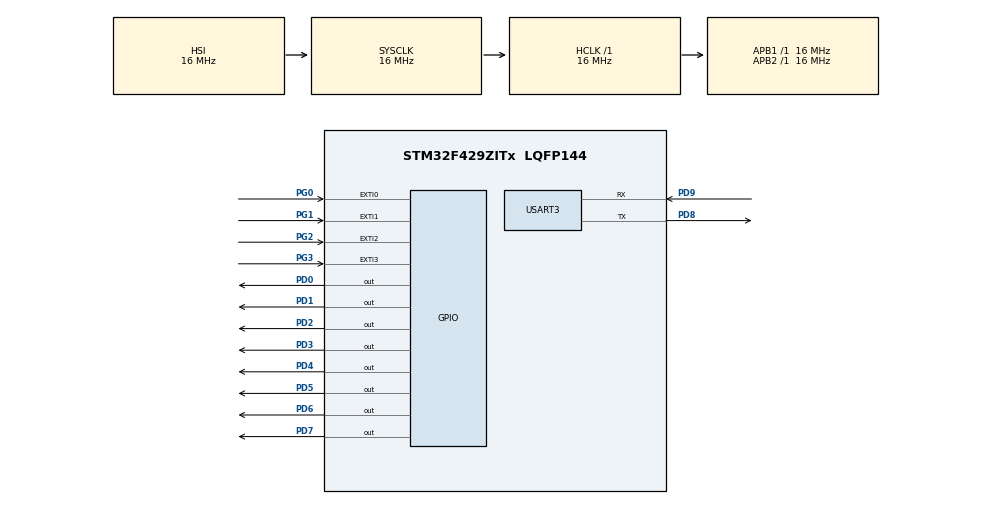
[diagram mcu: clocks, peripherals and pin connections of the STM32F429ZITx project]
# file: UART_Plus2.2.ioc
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Mcu.Family=STM32F4
Mcu.Name=STM32F429ZITx
Mcu.Package=LQFP144
NVIC.EXTI0_IRQn=true\:0\:0\:false\:false\:true\:true\:true\:true
NVIC.EXTI1_IRQn=true\:0\:0\:false\:false\:true\:true\:true\:true
NVIC.EXTI2_IRQn=true\:0\:0\:false\:false\:true\:true\:true\:true
NVIC.EXTI3_IRQn=true\:0\:0\:false\:false\:true\:true\:true\:true
NVIC.PriorityGroup=NVIC_PRIORITYGROUP_4
NVIC.USART3_IRQn=true\:0\:0\:false\:false\:true\:true\:true\:true
PD0.GPIO_ModeDefaultOutputPP=GPIO_MODE_OUTPUT_PP
PD0.GPIO_PuPd=GPIO_PULLUP
PD0.GPIO_Speed=GPIO_SPEED_FREQ_HIGH
PD0.PinState=GPIO_PIN_RESET
PD0.Signal=GPIO_Output
PD1.GPIO_ModeDefaultOutputPP=GPIO_MODE_OUTPUT_PP
PD1.GPIO_PuPd=GPIO_PULLUP
PD1.GPIO_Speed=GPIO_SPEED_FREQ_HIGH
PD1.PinState=GPIO_PIN_RESET
PD1.Signal=GPIO_Output
PD2.GPIO_ModeDefaultOutputPP=GPIO_MODE_OUTPUT_PP
PD2.GPIO_PuPd=GPIO_PULLUP
PD2.GPIO_Speed=GPIO_SPEED_FREQ_HIGH
PD2.PinState=GPIO_PIN_RESET
PD2.Signal=GPIO_Output
PD3.GPIO_ModeDefaultOutputPP=GPIO_MODE_OUTPUT_PP
PD3.GPIO_PuPd=GPIO_PULLUP
PD3.GPIO_Speed=GPIO_SPEED_FREQ_HIGH
PD3.PinState=GPIO_PIN_RESET
PD3.Signal=GPIO_Output
PD4.GPIO_ModeDefaultOutputPP=GPIO_MODE_OUTPUT_PP
PD4.GPIO_PuPd=GPIO_PULLUP
PD4.GPIO_Speed=GPIO_SPEED_FREQ_HIGH
PD4.PinState=GPIO_PIN_RESET
PD4.Signal=GPIO_Output
PD5.GPIO_ModeDefaultOutputPP=GPIO_MODE_OUTPUT_PP
PD5.GPIO_PuPd=GPIO_PULLUP
PD5.GPIO_Speed=GPIO_SPEED_FREQ_HIGH
PD5.PinState=GPIO_PIN_RESET
PD5.Signal=GPIO_Output
PD6.GPIO_ModeDefaultOutputPP=GPIO_MODE_OUTPUT_PP
PD6.GPIO_PuPd=GPIO_PULLUP
PD6.GPIO_Speed=GPIO_SPEED_FREQ_HIGH
PD6.PinState=GPIO_PIN_RESET
PD6.Signal=GPIO_Output
PD7.GPIO_ModeDefaultOutputPP=GPIO_MODE_OUTPUT_PP
PD7.GPIO_PuPd=GPIO_PULLUP
PD7.GPIO_Speed=GPIO_SPEED_FREQ_HIGH
PD7.PinState=GPIO_PIN_RESET
PD7.Signal=GPIO_Output
PD8.Mode=Asynchronous
PD8.Signal=USART3_TX
PD9.Mode=Asynchronous
PD9.Signal=USART3_RX
PG0.GPIO_ModeDefaultEXTI=GPIO_MODE_IT_FALLING
PG0.GPIO_PuPd=GPIO_NOPULL
PG0.Signal=GPXTI0
PG1.GPIO_ModeDefaultEXTI=GPIO_MODE_IT_FALLING
PG1.GPIO_PuPd=GPIO_NOPULL
PG1.Signal=GPXTI1
PG2.GPIO_ModeDefaultEXTI=GPIO_MODE_IT_FALLING
PG2.GPIO_PuPd=GPIO_NOPULL
PG2.Signal=GPXTI2
PG3.GPIO_ModeDefaultEXTI=GPIO_MODE_IT_FALLING
PG3.GPIO_PuPd=GPIO_NOPULL
PG3.Signal=GPXTI3
ProjectManager.HeapSize=0x200
ProjectManager.StackSize=0x400
ProjectManager.TargetToolchain=STM32CubeIDE
RCC.AHBFreq_Value=16000000
RCC.APB1Freq_Value=16000000
RCC.APB2Freq_Value=16000000
RCC.CortexFreq_Value=16000000
RCC.HSE_VALUE=25000000
RCC.HSI_VALUE=16000000
RCC.LSE_VALUE=32768
RCC.SYSCLKFreq_VALUE=16000000
RCC.VCOOutputFreq_Value=192000000
USART3.VirtualMode=VM_ASYNC
board=custom

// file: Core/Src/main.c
/* USER CODE BEGIN Header */
/**
  ******************************************************************************
  * @file           : main.c
  * @brief          : Main program body
  ******************************************************************************
  * @attention
  *
  * Copyright (c) 2022 STMicroelectronics.
  * All rights reserved.
  *
  * This software is licensed under terms that can be found in the LICENSE file
  * in the root directory of this software component.
  * If no LICENSE file comes with this software, it is provided AS-IS.
  *
  ******************************************************************************
  */
/* USER CODE END Header */
#include "main.h"

/* USER CODE BEGIN PD */
#define TxBufferSize   (countof(TxBuffer)-1)
#define TxBufferSize_2   (countof(TxBuffer_2)-1)
#define TxBufferSize_3   (countof(TxBuffer_3)-1)
#define TxBufferSize_4   (countof(TxBuffer_4)-1)
#define TxBufferSize_5   (countof(TxBuffer_5)-1)
#define RxBufferSize   0XFF
#define countof(a)      (sizeof(a) / sizeof(*(a)))
/* USER CODE END PD */

UART_HandleTypeDef huart3;

/* USER CODE BEGIN PV */
uint8_t TxBuffer[] = "\n\rUART Plus Example 2.2 (Transmission Success !!)\n\r\n\r";
uint8_t TxBuffer_2[] = "\n\r LED 1 is ON ! \n\r";
uint8_t TxBuffer_3[] = "\n\r   LED 2 is ON ! \n\r";
uint8_t TxBuffer_4[] = "\n\r     LED 3 is ON ! \n\r";
uint8_t TxBuffer_5[] = "\n\r       LED 4 is ON ! \n\r";
uint8_t RxBuffer[RxBufferSize];
/* USER CODE END PV */

void SystemClock_Config(void);
static void MX_GPIO_Init(void);
static void MX_USART3_UART_Init(void);
/* USER CODE BEGIN PFP */
void LED_OnOff(int, int);
/* USER CODE END PFP */

int main(void)
{
   uint8_t data;

  /* MCU Configuration--------------------------------------------------------*/

  /* Reset of all peripherals, Initializes the Flash interface and the Systick. */
  HAL_Init();

  /* Configure the system clock */
  SystemClock_Config();

  /* Initialize all configured peripherals */
  MX_GPIO_Init();
  MX_USART3_UART_Init();
  /* USER CODE BEGIN 2 */
  LED_OnOff(LED_ALL, 500);
  HAL_UART_Transmit(&huart3, (uint8_t*)TxBuffer, TxBufferSize, 0xFFFF);
  /* USER CODE END 2 */

  /* Infinite loop */
  /* USER CODE BEGIN WHILE */
  while (1)
  {
     if(HAL_UART_Receive(&huart3, &data, 1, 5000)== HAL_OK)
     {
        if(data == '1'){
           HAL_UART_Transmit(&huart3,(uint8_t*)TxBuffer_2 , TxBufferSize_2, 0xFFFF);
           LED_OnOff(0x01,1000);
        }
        if(data == '2'){
           HAL_UART_Transmit(&huart3,(uint8_t*)TxBuffer_3 , TxBufferSize_3, 0xFFFF);
           LED_OnOff(0x02,1000);
        }
        if(data == '3'){
           HAL_UART_Transmit(&huart3,(uint8_t*)TxBuffer_4 , TxBufferSize_4, 0xFFFF);
           LED_OnOff(0x04,1000);
        }
        if(data == '4'){
           HAL_UART_Transmit(&huart3,(uint8_t*)TxBuffer_5 , TxBufferSize_5, 0xFFFF);
           LED_OnOff(0x08,1000);
        }

     }
    /* USER CODE END WHILE */

  }
}

void SystemClock_Config(void)
{
  RCC_OscInitTypeDef RCC_OscInitStruct = {0};
  RCC_ClkInitTypeDef RCC_ClkInitStruct = {0};

  /** Configure the main internal regulator output voltage
  */
  __HAL_RCC_PWR_CLK_ENABLE();
  __HAL_PWR_VOLTAGESCALING_CONFIG(PWR_REGULATOR_VOLTAGE_SCALE3);

  /** Initializes the RCC Oscillators according to the specified parameters
  * in the RCC_OscInitTypeDef structure.
  */
  RCC_OscInitStruct.OscillatorType = RCC_OSCILLATORTYPE_HSI;
  RCC_OscInitStruct.HSIState = RCC_HSI_ON;
  RCC_OscInitStruct.HSICalibrationValue = RCC_HSICALIBRATION_DEFAULT;
  RCC_OscInitStruct.PLL.PLLState = RCC_PLL_NONE;
  if (HAL_RCC_OscConfig(&RCC_OscInitStruct) != HAL_OK)
  {
    Error_Handler();
  }

  /** Initializes the CPU, AHB and APB buses clocks
  */
  RCC_ClkInitStruct.ClockType = RCC_CLOCKTYPE_HCLK|RCC_CLOCKTYPE_SYSCLK
                              |RCC_CLOCKTYPE_PCLK1|RCC_CLOCKTYPE_PCLK2;
  RCC_ClkInitStruct.SYSCLKSource = RCC_SYSCLKSOURCE_HSI;
  RCC_ClkInitStruct.AHBCLKDivider = RCC_SYSCLK_DIV1;
  RCC_ClkInitStruct.APB1CLKDivider = RCC_HCLK_DIV1;
  RCC_ClkInitStruct.APB2CLKDivider = RCC_HCLK_DIV1;

  if (HAL_RCC_ClockConfig(&RCC_ClkInitStruct, FLASH_LATENCY_0) != HAL_OK)
  {
    Error_Handler();
  }
}

static void MX_USART3_UART_Init(void)
{

  huart3.Instance = USART3;
  huart3.Init.BaudRate = 115200;
  huart3.Init.WordLength = UART_WORDLENGTH_8B;
  huart3.Init.StopBits = UART_STOPBITS_1;
  huart3.Init.Parity = UART_PARITY_NONE;
  huart3.Init.Mode = UART_MODE_TX_RX;
  huart3.Init.HwFlowCtl = UART_HWCONTROL_NONE;
  huart3.Init.OverSampling = UART_OVERSAMPLING_16;
  if (HAL_UART_Init(&huart3) != HAL_OK)
  {
    Error_Handler();
  }

}

static void MX_GPIO_Init(void)
{
  GPIO_InitTypeDef GPIO_InitStruct = {0};

  /* GPIO Ports Clock Enable */
  __HAL_RCC_GPIOG_CLK_ENABLE();
  __HAL_RCC_GPIOD_CLK_ENABLE();

  /*Configure GPIO pin Output Level */
  HAL_GPIO_WritePin(GPIOD, GPIO_PIN_0|GPIO_PIN_1|GPIO_PIN_2|GPIO_PIN_3
                          |GPIO_PIN_4|GPIO_PIN_5|GPIO_PIN_6|GPIO_PIN_7, GPIO_PIN_RESET);

  /*Configure GPIO pins : PG0 PG1 PG2 PG3 */
  GPIO_InitStruct.Pin = GPIO_PIN_0|GPIO_PIN_1|GPIO_PIN_2|GPIO_PIN_3;
  GPIO_InitStruct.Mode = GPIO_MODE_IT_FALLING;
  GPIO_InitStruct.Pull = GPIO_NOPULL;
  HAL_GPIO_Init(GPIOG, &GPIO_InitStruct);

  /*Configure GPIO pins : PD0 PD1 PD2 PD3
                           PD4 PD5 PD6 PD7 */
  GPIO_InitStruct.Pin = GPIO_PIN_0|GPIO_PIN_1|GPIO_PIN_2|GPIO_PIN_3
                          |GPIO_PIN_4|GPIO_PIN_5|GPIO_PIN_6|GPIO_PIN_7;
  GPIO_InitStruct.Mode = GPIO_MODE_OUTPUT_PP;
  GPIO_InitStruct.Pull = GPIO_PULLUP;
  GPIO_InitStruct.Speed = GPIO_SPEED_FREQ_HIGH;
  HAL_GPIO_Init(GPIOD, &GPIO_InitStruct);

  /* EXTI interrupt init*/
  HAL_NVIC_SetPriority(EXTI0_IRQn, 0, 0);
  HAL_NVIC_EnableIRQ(EXTI0_IRQn);

  HAL_NVIC_SetPriority(EXTI1_IRQn, 0, 0);
  HAL_NVIC_EnableIRQ(EXTI1_IRQn);

  HAL_NVIC_SetPriority(EXTI2_IRQn, 0, 0);
  HAL_NVIC_EnableIRQ(EXTI2_IRQn);

  HAL_NVIC_SetPriority(EXTI3_IRQn, 0, 0);
  HAL_NVIC_EnableIRQ(EXTI3_IRQn);

}

/* USER CODE BEGIN 4 */
void LED_OnOff(int led, int interval)
{
   HAL_GPIO_WritePin(GPIO_LED, led, GPIO_PIN_SET);
   HAL_GPIO_WritePin(GPIO_LED_Nucleo, led, GPIO_PIN_SET);
   HAL_Delay(interval);
   HAL_GPIO_WritePin(GPIO_LED, led, GPIO_PIN_RESET);
   HAL_GPIO_WritePin(GPIO_LED_Nucleo, led, GPIO_PIN_RESET);
}

/* USER CODE END 4 */
void Error_Handler(void)
{
  __disable_irq();
  while (1)
  {
  }
}
